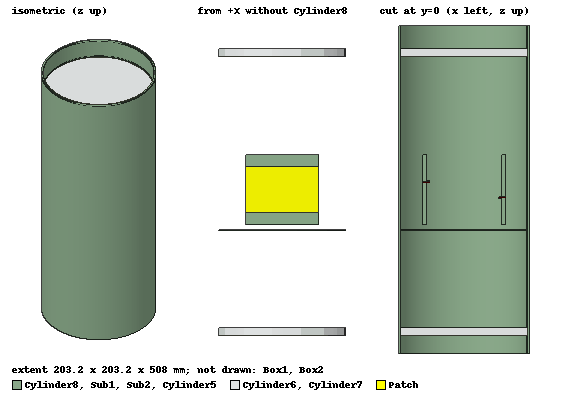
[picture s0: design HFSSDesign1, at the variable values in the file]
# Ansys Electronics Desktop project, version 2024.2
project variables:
  $Antenna_X_Offset = 2.3in
  $Substrate_Width = 0.11246602meter
  $Substrate_Thickness = 0.006meter
  $Substrate_Length = 0.109494912meter
  $X_Offset = 0.02418705meter
  $Patch_Length = 0.07244977meter
  $Patch_Width = 0.11271778meter
  $Tube_Height = 60cm
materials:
  vacuum: permittivity=1
  FR4_epoxy: permittivity=4.4 dielectric_loss_tangent=0.02
  pec: conductivity=1e+30
  Rogers RT/duroid 5880 (tm): permittivity=2.2 dielectric_loss_tangent=0.0009
  Rogers TMM 4 (tm): permittivity=4.5 dielectric_loss_tangent=0.002
  polyethylene: permittivity=2.25 dielectric_loss_tangent=0.001
  air: permittivity=1.0006 permeability=1.0000004
  Rocketry Fiberglass Epoxy: permittivity=3 dielectric_loss_tangent=0.0075
  aluminum: permeability=1.000021 conductivity=38000000

design HFSSDesign1 (HFSS, HFSS Terminal Network, model units mm)
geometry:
  coordinate_system RelativeCS1 = origin=($Antenna_X_Offset, 0mm, 0) x=(0mm, 0mm, -1mm) y=(0mm, 1mm, 0mm)
  coordinate_system RelativeCS2 = origin=(-$Antenna_X_Offset, 0, 0) x=(0mm, 0mm, 1mm) y=(0mm, 1mm, 0mm)
  Cylinder5 [FR4_epoxy] = cylinder(axis=Z, base_centre=(0mm, 0mm, -2.5in), radius=4in-0.125in, height=0.0625in)
  Cylinder6 [aluminum] = cylinder(axis=Z, base_centre=(0mm, 0mm, -(10/25.2 + 8) in), radius=(4-0.125) in, height=-0.5in)
  Cylinder7 [aluminum] = cylinder(axis=Z, base_centre=(0mm, 0mm, -(10/25.2 -9) in), radius=(4-0.125) in, height=-0.5in)
  Sub1 [Rogers TMM 4 (tm)] = box(corner=(-($Substrate_Length/2), -($Substrate_Width/2), 0cm), size=($Substrate_Length, $Substrate_Width, $Substrate_Thickness)) in RelativeCS1
  Inf_GND [Rogers RT/duroid 5880 (tm)] = object_from(Sub1.face(at (58.42, 0, 0)))
  Cutout = circle(normal=Z, centre=(-($Patch_Length/2-$X_Offset), 0cm, 0cm), radius=0.16cm) in RelativeCS1
  Inf_GND.subtract(Cutout)
  Patch = rectangle(corner=(-($Patch_Length/2), -($Patch_Width/2), $Substrate_Thickness), x_size=$Patch_Length, y_size=$Patch_Width) in RelativeCS1
  Coax [polyethylene] = cylinder(axis=Z, base_centre=(-($Patch_Length/2-$X_Offset), 0cm, 0cm), radius=0.16cm, height=-0.5cm) in RelativeCS1
  CoaxPin [pec] = cylinder(axis=Z, base_centre=(-($Patch_Length/2-$X_Offset), 0cm, 0cm), radius=0.07cm, height=-0.5cm) in RelativeCS1
  Probe [pec] = cylinder(axis=Z, base_centre=(-($Patch_Length/2-$X_Offset), 0cm, 0cm), radius=0.07cm, height=$Substrate_Thickness) in RelativeCS1
  Box1 [air] = box(corner=(-50cm, -50cm, 0cm), size=(100cm, 100cm, 20cm)) in RelativeCS1
  Sub2 [Rogers TMM 4 (tm)] = box(corner=(-($Substrate_Length/2), -($Substrate_Width/2), 0cm), size=($Substrate_Length, $Substrate_Width, $Substrate_Thickness)) in RelativeCS2
  Inf_GND1 [Rogers RT/duroid 5880 (tm)] = object_from(Sub2.face(at (-58.42, 0, 0)))
  Cutout1 = circle(normal=Z, centre=(-($Patch_Length/2-$X_Offset), 0cm, 0cm), radius=0.16cm) in RelativeCS2
  Inf_GND1.subtract(Cutout1)
  Patch1 = rectangle(corner=(-($Patch_Length/2), -($Patch_Width/2), $Substrate_Thickness), x_size=$Patch_Length, y_size=$Patch_Width) in RelativeCS2
  Coax1 [polyethylene] = cylinder(axis=Z, base_centre=(-($Patch_Length/2-$X_Offset), 0cm, 0cm), radius=0.16cm, height=-0.5cm) in RelativeCS2
  CoaxPin1 [pec] = cylinder(axis=Z, base_centre=(-($Patch_Length/2-$X_Offset), 0cm, 0cm), radius=0.07cm, height=-0.5cm) in RelativeCS2
  Probe1 [pec] = cylinder(axis=Z, base_centre=(-($Patch_Length/2-$X_Offset), 0cm, 0cm), radius=0.07cm, height=$Substrate_Thickness) in RelativeCS2
  Box2 [air] = box(corner=(-50cm, -50cm, 0cm), size=(100cm, 100cm, 20cm)) in RelativeCS2
  Cylinder6_1 = Cylinder6.copy()
  Box2.subtract(Cylinder6_1)
  Cylinder7_1 = Cylinder7.copy()
  Box2.subtract(Cylinder7_1)
  Cylinder5_1 = Cylinder5.copy()
  Box2.subtract(Cylinder5_1)
  Cylinder5_2 = Cylinder5.copy()
  Cylinder6_2 = Cylinder6.copy()
  Cylinder7_2 = Cylinder7.copy()
  Box1.subtract(Cylinder5_2, Cylinder6_2, Cylinder7_2)
  Cylinder8 [Rocketry Fiberglass Epoxy] = cylinder(axis=Z, base_centre=(0mm, 0mm, -10in), radius=4in, height=20in)
  Cylinder9 = cylinder(axis=Z, base_centre=(0mm, 0mm, -10in), radius=(4in-0.125in), height=20in)
  Cylinder8.subtract(Cylinder9)
  Cylinder8_1 = Cylinder8.copy()
  Box1.subtract(Cylinder8_1)
  Cylinder8_2 = Cylinder8.copy()
  Box2.subtract(Cylinder8_2)
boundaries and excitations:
  PerfE_Patch: Perfect E Objects=Patch
  PerfE1: Perfect E Objects=Inf_GND
  Rad1: Radiation Faces=Box1.face(at (258.42, 0, 0), at (158.42, -500, 0), at (158.42, 0, 500), at (158.42, 500, 0), at (158.42, 0, -500))
  PerfE_Patch1: Perfect E Objects=Patch1
  PerfE2: Perfect E Objects=Inf_GND1
  Rad2: Radiation Faces=Box2.face(at (-258.42, 0, 0), at (-158.42, -500, 0), at (-158.42, 0, -500), at (-158.42, 500, 0), at (-158.42, 0, 500))
  CoaxPin_T1: Terminal port=P1 Faces=CoaxPin.face(at (53.42, 0, 12.0378)) TerminalResistance=50ohm
  CoaxPin_T2: Terminal port=P2 Faces=CoaxPin1.face(at (-53.42, 0, -12.0378)) TerminalResistance=50ohm
  P1: Wave Port Faces=Coax.face(at (53.42, 0, 12.0378)) WavePortType=Terminal NumModes=1
  P2: Wave Port Faces=Coax1.face(at (-53.42, 0, -12.0378)) WavePortType=Terminal NumModes=1
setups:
  Setup1: HfssDriven Frequency=0.915GHz MaxDeltaS=0.02 MaximumPasses=20 MinimumPasses=1 MinimumConvergedPasses=1 PercentRefinement=30 BasisOrder=1 PortAccuracy=2 DrivenSolverType="Direct Solver" VariablesForDerivatives($Patch_Length, $Patch_Width, $Substrate_Length, $Substrate_Thickness, $Substrate_Width, $X_Offset) VariableFlagsForDerivatives(1, 1, 1, 1, 1, 1)
    sweep Sweep: 0.4575GHz to 1.3725GHz, 401 points; Type=Interpolating InterpTolerance=0.5 InterpMaxSolns=250 PassivityErrorTolerance=0.0001
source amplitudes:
  P1:1, P2:1: 1 0deg
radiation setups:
  Infinite Sphere1: Infinite Sphere Theta=0deg..180deg step 2deg Phi=-180deg..180deg step 2deg
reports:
  Terminal S Parameter Plot 1: dB(St(CoaxPin_T1,CoaxPin_T1)) vs Freq on Setup1 : Sweep
  Gain Plot 1: dB(GainTotal) vs Phi, Theta on Setup1 : LastAdaptive, Infinite Sphere1 [Freq=0.915GHz]
